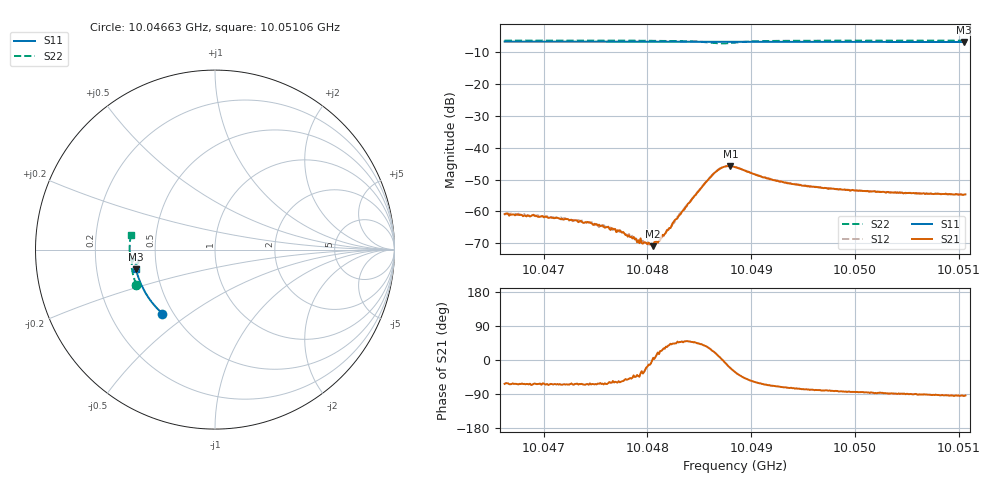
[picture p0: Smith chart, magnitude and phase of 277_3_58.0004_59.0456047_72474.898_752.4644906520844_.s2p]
#  HZ  S  RI  R  50.00
! Rohde & Schwarz Vector Network Analyzer
! Rohde-Schwarz,ZNB20-2Port,1311601062101988,3.16
! Created: UTC 3/21/2024, 1:02:44 AM
! freq[Hz]  re:S11  im:S11  re:S21  im:S21  re:S12  im:S12  re:S22  im:S22
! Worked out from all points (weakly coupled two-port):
!   401 points, 10.04663 GHz to 10.05106 GHz, reference 50 ohm
!   highest |S21| = -45.79 dB at 10.0488 GHz (marker M1); lowest = -70.9 dB at 10.04806 GHz (marker M2)
!   lowest |S11| = -6.9 dB at 10.05105 GHz (marker M3), VSWR 2.66, Z = 19.1 - j5.28 ohm
!   |S11| at or under -10 dB: nowhere
!   |S22| runs from -7.3 to -6.4 dB; largest |S21 - S12| = 0.00035
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1.0046625e10  -0.2926 -0.3562  0.000411 -0.000808  0.00047 -0.000771  -0.4376 -0.1961
1.0046958e10  -0.3088 -0.3412  0.000375 -0.000733  0.000435 -0.000731  -0.4457 -0.1753
1.0047368e10  -0.3279 -0.3219  0.000313 -0.000611  0.00038 -0.00061  -0.4544 -0.1482
1.0047457e10  -0.3317 -0.3173  0.000283 -0.000592  0.000346 -0.000579  -0.456 -0.1422
1.0047512e10  -0.3341 -0.3146  0.000274 -0.000567  0.000301 -0.000531  -0.457 -0.1385
1.0047601e10  -0.3379 -0.3103  0.000253 -0.000505  0.000331 -0.000466  -0.4586 -0.1324
1.0047734e10  -0.3437 -0.3035  0.000263 -0.000433  0.0003 -0.00037  -0.4606 -0.123
1.0047901e10  -0.3506 -0.2949  0.000253 -0.000209  0.000283 -0.000219  -0.4626 -0.1107
1.0048e10  -0.3546 -0.2898  0.000292 -9.01e-05  0.000295 -9.31e-05  -0.4635 -0.1028
1.0048056e10  -0.3569 -0.2868  0.000283 2.88e-05  0.00029 1.22e-06  -0.464 -0.0985
1.0048111e10  -0.3592 -0.284  0.000336 9.33e-05  0.000322 0.000132  -0.4642 -0.0941
1.0048233e10  -0.3639 -0.2774  0.000451 0.000398  0.000399 0.00043  -0.4641 -0.0834
1.0048455e10  -0.3722 -0.2653  0.00121 0.0013  0.00118 0.00136  -0.4576 -0.0617
1.0048622e10  -0.3779 -0.2562  0.00332 0.00155  0.00323 0.00181  -0.4383 -0.0512
1.004871e10  -0.3809 -0.2513  0.00478 0.000281  0.00478 0.000585  -0.4265 -0.0601
1.0048799e10  -0.3838 -0.2465  0.00478 -0.00187  0.00489 -0.00154  -0.4301 -0.0752
1.0048843e10  -0.3854 -0.2441  0.00419 -0.0026  0.00443 -0.00234  -0.437 -0.0786
1.0049221e10  -0.3978 -0.2224  0.00113 -0.00287  0.0013 -0.00284  -0.4691 -0.0522
1.0049587e10  -0.4085 -0.2009  0.000485 -0.00238  0.000645 -0.00239  -0.4746 -0.0228
1.005033e10  -0.4268 -0.1556  4.62e-05 -0.00198  0.000182 -0.00199  -0.4749 0.0301
1.0051051e10  -0.4395 -0.1101  -0.000155 -0.00183  -4.97e-05 -0.00185  -0.4689 0.0785
1.0051062e10  -0.4398 -0.1094  -0.000123 -0.00184  -3.2e-05 -0.00184  -0.469 0.0792
